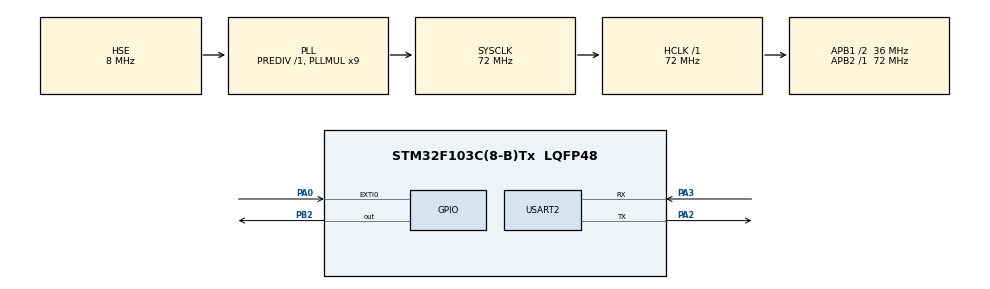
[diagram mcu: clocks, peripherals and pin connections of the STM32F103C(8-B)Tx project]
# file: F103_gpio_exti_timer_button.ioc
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Mcu.Family=STM32F1
Mcu.Name=STM32F103C(8-B)Tx
Mcu.Package=LQFP48
NVIC.EXTI0_IRQn=true\:0\:0\:false\:false\:true\:true\:true\:true
NVIC.PriorityGroup=NVIC_PRIORITYGROUP_4
NVIC.TIM2_IRQn=true\:0\:0\:false\:false\:true\:true\:true\:true
PA0-WKUP.GPIO_PuPd=GPIO_PULLDOWN
PA0-WKUP.Signal=GPXTI0
PA13.Mode=Serial_Wire
PA13.Signal=SYS_JTMS-SWDIO
PA14.Mode=Serial_Wire
PA14.Signal=SYS_JTCK-SWCLK
PA2.Mode=Asynchronous
PA2.Signal=USART2_TX
PA3.Mode=Asynchronous
PA3.Signal=USART2_RX
PB2.Signal=GPIO_Output
PD0-OSC_IN.Mode=HSE-External-Oscillator
PD0-OSC_IN.Signal=RCC_OSC_IN
PD1-OSC_OUT.Mode=HSE-External-Oscillator
PD1-OSC_OUT.Signal=RCC_OSC_OUT
ProjectManager.HeapSize=0x200
ProjectManager.StackSize=0x400
ProjectManager.TargetToolchain=STM32CubeIDE
RCC.AHBFreq_Value=72000000
RCC.APB1CLKDivider=RCC_HCLK_DIV2
RCC.APB1Freq_Value=36000000
RCC.APB1TimFreq_Value=72000000
RCC.APB2Freq_Value=72000000
RCC.APB2TimFreq_Value=72000000
RCC.HCLKFreq_Value=72000000
RCC.PLLMUL=RCC_PLL_MUL9
RCC.PLLSourceVirtual=RCC_PLLSOURCE_HSE
RCC.SYSCLKFreq_VALUE=72000000
RCC.SYSCLKSource=RCC_SYSCLKSOURCE_PLLCLK
RCC.USBFreq_Value=72000000
TIM2.AutoReloadPreload=TIM_AUTORELOAD_PRELOAD_ENABLE
TIM2.Period=1000-1
TIM2.Prescaler=72-1
USART2.VirtualMode=VM_ASYNC
VP_TIM2_VS_ClockSourceINT.Mode=Internal
board=custom

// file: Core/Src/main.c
/* USER CODE BEGIN Header */
/**
 ******************************************************************************
 * @file           : main.c
 * @brief          : Main program body
 ******************************************************************************
 * @attention
 *
 * Copyright (c) 2025 STMicroelectronics.
 * All rights reserved.
 *
 * This software is licensed under terms that can be found in the LICENSE file
 * in the root directory of this software component.
 * If no LICENSE file comes with this software, it is provided AS-IS.
 *
 ******************************************************************************
 */
/* USER CODE END Header */
#include "main.h"

/* USER CODE BEGIN Includes */
#include <stdio.h>
/* USER CODE END Includes */

/* USER CODE BEGIN PTD */
typedef enum {
	BTN_IDLE,
	BTN_DEBOUNCE,
	BTN_PRESSED,
	BTN_DEBOUNCE_RELEASE,
	BTN_WAIT_RELEASE,
	BTN_WAIT_NEXT_PRESS,
	BTN_LONG_PRESS_DETECTED
} ButtonState;
/* USER CODE END PTD */

/* USER CODE BEGIN PD */
#define UART_DEBUG			huart2

#define DEBOUNCE_MS         100
#define NEXT_PRESS_MS     	1000
#define LONG_PRESS_MS       2000
/* USER CODE END PD */

TIM_HandleTypeDef htim2;

UART_HandleTypeDef huart2;

/* USER CODE BEGIN PV */
volatile ButtonState btn_state = BTN_IDLE;
volatile GPIO_PinState btn_pin_state = GPIO_PIN_RESET;

volatile uint32_t press_time = 0;
volatile uint32_t release_time = 0;
volatile uint32_t debounce_cnt = 0;
volatile uint8_t  press_count = 0;
volatile uint8_t  exti_flag = 0;  // Flag để track EXTI event
/* USER CODE END PV */

void SystemClock_Config(void);
static void MX_GPIO_Init(void);
static void MX_USART2_UART_Init(void);
static void MX_TIM2_Init(void);
/* USER CODE BEGIN PFP */
#ifdef UART_DEBUG
int _write(int file, char *pData, int len)
{
	// Gửi dữ liệu qua UART1 với timeout 100ms (blocking)
	// HAL_StatusTypeDef status = HAL_UART_Transmit_DMA(&UART_DEBUG, (uint8_t*)pData, len);
	HAL_StatusTypeDef status = HAL_UART_Transmit(&UART_DEBUG, (uint8_t*)pData, len, 100);

	// Trả về len nếu thành công, -1 nếu thất bại
	if (status == HAL_OK) {
		return len;
	} else {
		return -1;  // Gửi thất bại (timeout, error, v.v.)
	}
}
#endif
/* USER CODE END PFP */

/* USER CODE BEGIN 0 */

/**
 * Flow xử lý nút nhấn giờ đã đúng:
Short Press: IDLE → DEBOUNCE → PRESSED → DEBOUNCE_RELEASE → WAIT_SECOND_PRESS → EXTI or Timeout → Short/Double/Triple Press → IDLE
Long Press: IDLE → DEBOUNCE → PRESSED (>=LONG_PRESS_MS) → WAIT_RELEASE → DEBOUNCE_RELEASE → IDLE → LongPress
 */
void On_ShortPress(void) {
	// TODO: your code
	printf("short press\r\n");
}

void On_DoublePress(void) {
	// TODO: your code
	printf("double press\r\n");
}

void On_TriplePress(void) {
	// TODO: your code
	printf("triple press\r\n");
}

void On_LongPress(void) {
	// TODO: your code
	printf("long press\r\n");
}

void HAL_GPIO_EXTI_Callback(uint16_t GPIO_Pin)
{
	if (GPIO_Pin == GPIO_PIN_0)
	{
		// Cập nhật trạng thái GPIO ngay lập tức
		btn_pin_state = HAL_GPIO_ReadPin(GPIOA, GPIO_PIN_0);

		// Set flag để timer callback xử lý (không gọi callback ngay ở đây!)
		exti_flag = 1;
	}
}

void HAL_TIM_PeriodElapsedCallback(TIM_HandleTypeDef *htim)
{
	if (htim->Instance == TIM2)   // Timer 1ms
	{
		// Cập nhật trạng thái GPIO hiện tại
		btn_pin_state = HAL_GPIO_ReadPin(GPIOA, GPIO_PIN_0);

		switch (btn_state)
		{
		case BTN_IDLE:
			// Chờ EXTI event (nút được nhấn)
			if (exti_flag && btn_pin_state == GPIO_PIN_SET)
			{
				// EXTI rising được confirm → bắt đầu debounce
				btn_state = BTN_DEBOUNCE;
				debounce_cnt = 0;
				exti_flag = 0;
			}
			break;

		case BTN_DEBOUNCE:
			// Sau DEBOUNCE_MS mới công nhận sự kiện
			if (++debounce_cnt >= DEBOUNCE_MS)
			{
				// EXTI rising → PA0 = 1 (SET) = nút nhấn
				if (btn_pin_state == GPIO_PIN_SET)
				{
					btn_state = BTN_PRESSED;
					press_time = 0;
					exti_flag = 0;
				}
				else
				{
					// Nút không nhấn → quay về IDLE
					btn_state = BTN_IDLE;
					exti_flag = 0;
				}
			}
			break;

		case BTN_PRESSED:
			press_time++;

			// Kiểm tra short press (thả nút trước khi đạt long press)
			// PA0 = 0 (RESET) = nút được thả
			if (btn_pin_state == GPIO_PIN_RESET)
			{
				// Nút đã thả sớm → short press, debounce để xác nhận
				btn_state = BTN_DEBOUNCE_RELEASE;
				debounce_cnt = 0;
				exti_flag = 0;
			}
			// Kiểm tra long press
			else if (press_time >= LONG_PRESS_MS)
			{
				// LONG PRESS callback - gọi chỉ 1 lần
				On_LongPress(); // Khi đủ thời gian long press, tự động chuyển sang hàm LongPress, không cần nhả phím button
				press_time = 0;
				btn_state = BTN_LONG_PRESS_DETECTED; // Chuyển sang state mới
				exti_flag = 0;
			}
			break;

		case BTN_DEBOUNCE_RELEASE:
			// Debounce khi thả nút
			if (++debounce_cnt >= DEBOUNCE_MS)
			{
				// PA0 = 0 (RESET) = nút đã thả hoàn toàn
				if (btn_pin_state == GPIO_PIN_RESET)
				{
					// Xác nhận nút đã thả hoàn toàn → chờ lần nhấn thứ 2
					btn_state = BTN_WAIT_NEXT_PRESS;
					press_count++;
					release_time = 0;
					exti_flag = 0;
				}
				else
				{
					// Nút vẫn nhấn (false release) → quay lại BTN_PRESSED
					btn_state = BTN_PRESSED;
					// press_time tiếp tục đếm (không reset)
					exti_flag = 0;
				}
			}
			break;

		case BTN_WAIT_NEXT_PRESS:
			// Kiểm tra lần nhấn tiếp theo (EXTI event)
			if (exti_flag && btn_pin_state == GPIO_PIN_SET)
			{
				// Có lần nhấn tiếp theo → bắt đầu debounce lần nhấn mới
				btn_state = BTN_DEBOUNCE;
				debounce_cnt = 0;
				exti_flag = 0;
			}
			else
			{
				release_time++;

				if (release_time >= NEXT_PRESS_MS)
				{
					// Timeout - không có lần nhấn tiếp theo
					if (press_count == 1)
						On_ShortPress();
					else if (press_count == 2)
						On_DoublePress();
					else if (press_count == 3)
						On_TriplePress();

					press_count = 0;
					press_time = 0;
					btn_state = BTN_IDLE;
					exti_flag = 0;
				}
			}
			break;

		case BTN_WAIT_RELEASE:
			// PA0 = 0 (RESET) = nút được thả
			if (btn_pin_state == GPIO_PIN_RESET)
			{
				// Thả sau long press - quay về IDLE (không cần debounce)
				btn_state = BTN_IDLE;
				exti_flag = 0;
			}
			break;

		case BTN_LONG_PRESS_DETECTED:
			// State này chờ nút được thả sau khi long press được gọi
			// PA0 = 0 (RESET) = nút được thả
			if (btn_pin_state == GPIO_PIN_RESET)
			{
				// Nút đã thả, quay về IDLE
				btn_state = BTN_IDLE;
				exti_flag = 0;
			}
			break;

		default:
			break;
		}
	}
}

/* USER CODE END 0 */

int main(void)
{

	/* MCU Configuration--------------------------------------------------------*/

	/* Reset of all peripherals, Initializes the Flash interface and the Systick. */
	HAL_Init();

	/* Configure the system clock */
	SystemClock_Config();

	/* Initialize all configured peripherals */
	MX_GPIO_Init();
	MX_USART2_UART_Init();
	MX_TIM2_Init();
	/* USER CODE BEGIN 2 */
	HAL_TIM_Base_Start_IT(&htim2);
	HAL_GPIO_WritePin(GPIOB, GPIO_PIN_2, 1);
	printf("waiting button pressed.....\r\n");

	/* USER CODE END 2 */

	/* Infinite loop */
	/* USER CODE BEGIN WHILE */
	while (1)
	{
		printf("btn_state: %d, btn_pin_state: %d, press_count: %d press_time: %ld\r\n",
				btn_state, btn_pin_state, press_count, press_time);
		HAL_Delay(200);
		/* USER CODE END WHILE */

	}
}

void SystemClock_Config(void)
{
	RCC_OscInitTypeDef RCC_OscInitStruct = {0};
	RCC_ClkInitTypeDef RCC_ClkInitStruct = {0};

	/** Initializes the RCC Oscillators according to the specified parameters
	 * in the RCC_OscInitTypeDef structure.
	 */
	RCC_OscInitStruct.OscillatorType = RCC_OSCILLATORTYPE_HSE;
	RCC_OscInitStruct.HSEState = RCC_HSE_ON;
	RCC_OscInitStruct.HSEPredivValue = RCC_HSE_PREDIV_DIV1;
	RCC_OscInitStruct.HSIState = RCC_HSI_ON;
	RCC_OscInitStruct.PLL.PLLState = RCC_PLL_ON;
	RCC_OscInitStruct.PLL.PLLSource = RCC_PLLSOURCE_HSE;
	RCC_OscInitStruct.PLL.PLLMUL = RCC_PLL_MUL9;
	if (HAL_RCC_OscConfig(&RCC_OscInitStruct) != HAL_OK)
	{
		Error_Handler();
	}

	/** Initializes the CPU, AHB and APB buses clocks
	 */
	RCC_ClkInitStruct.ClockType = RCC_CLOCKTYPE_HCLK|RCC_CLOCKTYPE_SYSCLK
			|RCC_CLOCKTYPE_PCLK1|RCC_CLOCKTYPE_PCLK2;
	RCC_ClkInitStruct.SYSCLKSource = RCC_SYSCLKSOURCE_PLLCLK;
	RCC_ClkInitStruct.AHBCLKDivider = RCC_SYSCLK_DIV1;
	RCC_ClkInitStruct.APB1CLKDivider = RCC_HCLK_DIV2;
	RCC_ClkInitStruct.APB2CLKDivider = RCC_HCLK_DIV1;

	if (HAL_RCC_ClockConfig(&RCC_ClkInitStruct, FLASH_LATENCY_2) != HAL_OK)
	{
		Error_Handler();
	}
}

static void MX_TIM2_Init(void)
{

	TIM_ClockConfigTypeDef sClockSourceConfig = {0};
	TIM_MasterConfigTypeDef sMasterConfig = {0};

	htim2.Instance = TIM2;
	htim2.Init.Prescaler = 72-1;
	htim2.Init.CounterMode = TIM_COUNTERMODE_UP;
	htim2.Init.Period = 1000-1;
	htim2.Init.ClockDivision = TIM_CLOCKDIVISION_DIV1;
	htim2.Init.AutoReloadPreload = TIM_AUTORELOAD_PRELOAD_ENABLE;
	if (HAL_TIM_Base_Init(&htim2) != HAL_OK)
	{
		Error_Handler();
	}
	sClockSourceConfig.ClockSource = TIM_CLOCKSOURCE_INTERNAL;
	if (HAL_TIM_ConfigClockSource(&htim2, &sClockSourceConfig) != HAL_OK)
	{
		Error_Handler();
	}
	sMasterConfig.MasterOutputTrigger = TIM_TRGO_RESET;
	sMasterConfig.MasterSlaveMode = TIM_MASTERSLAVEMODE_DISABLE;
	if (HAL_TIMEx_MasterConfigSynchronization(&htim2, &sMasterConfig) != HAL_OK)
	{
		Error_Handler();
	}

}

static void MX_USART2_UART_Init(void)
{

	huart2.Instance = USART2;
	huart2.Init.BaudRate = 115200;
	huart2.Init.WordLength = UART_WORDLENGTH_8B;
	huart2.Init.StopBits = UART_STOPBITS_1;
	huart2.Init.Parity = UART_PARITY_NONE;
	huart2.Init.Mode = UART_MODE_TX_RX;
	huart2.Init.HwFlowCtl = UART_HWCONTROL_NONE;
	huart2.Init.OverSampling = UART_OVERSAMPLING_16;
	if (HAL_UART_Init(&huart2) != HAL_OK)
	{
		Error_Handler();
	}

}

static void MX_GPIO_Init(void)
{
	GPIO_InitTypeDef GPIO_InitStruct = {0};

	/* GPIO Ports Clock Enable */
	__HAL_RCC_GPIOD_CLK_ENABLE();
	__HAL_RCC_GPIOA_CLK_ENABLE();
	__HAL_RCC_GPIOB_CLK_ENABLE();

	/*Configure GPIO pin Output Level */
	HAL_GPIO_WritePin(GPIOB, GPIO_PIN_2, GPIO_PIN_RESET);

	/*Configure GPIO pin : PA0 */
	GPIO_InitStruct.Pin = GPIO_PIN_0;
	GPIO_InitStruct.Mode = GPIO_MODE_IT_RISING;
	GPIO_InitStruct.Pull = GPIO_PULLDOWN;
	HAL_GPIO_Init(GPIOA, &GPIO_InitStruct);

	/*Configure GPIO pin : PB2 */
	GPIO_InitStruct.Pin = GPIO_PIN_2;
	GPIO_InitStruct.Mode = GPIO_MODE_OUTPUT_PP;
	GPIO_InitStruct.Pull = GPIO_NOPULL;
	GPIO_InitStruct.Speed = GPIO_SPEED_FREQ_LOW;
	HAL_GPIO_Init(GPIOB, &GPIO_InitStruct);

	/* EXTI interrupt init*/
	HAL_NVIC_SetPriority(EXTI0_IRQn, 0, 0);
	HAL_NVIC_EnableIRQ(EXTI0_IRQn);

}

void Error_Handler(void)
{
	__disable_irq();
	while (1)
	{
	}
}
